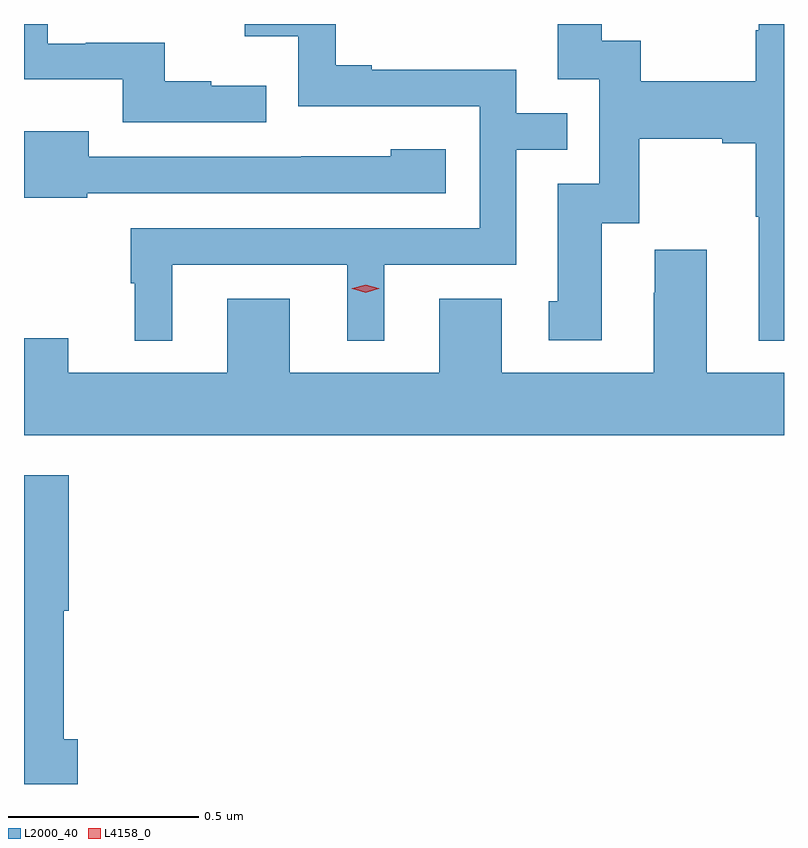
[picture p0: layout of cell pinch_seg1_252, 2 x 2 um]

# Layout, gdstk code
import gdstk
lib = gdstk.Library(unit=1e-6, precision=1e-09)
def P(c, l, *ps):  # polygons
    for p in ps: c.add(gdstk.Polygon(p, *l))
L2000_40 = (2000, 40)
L4158_0 = (4158, 0)

pinch_seg1_252 = lib.new_cell('pinch_seg1_252')
P(pinch_seg1_252, L2000_40, [(890.363,571.3),(890.219,571.3),(890.219,571.312),(890.096,571.312),(890.096,571.413),(889.888,571.413),(889.888,571.41),(889.788,571.41),(889.788,571.462),(889.726,571.462),(889.726,571.317),(889.727,571.316),(889.986,571.316),(889.986,571.203),(890.363,571.203)],
  [(890.116,570.828),(890.576,570.828),(890.576,570.629),(890.674,570.629),(890.674,570.828),(891.021,570.828),(891.021,571.131),(891.155,571.131),(891.155,571.227),(891.021,571.227),(891.021,571.341),(890.641,571.341),(890.641,571.354),(890.547,571.354),(890.547,571.462),(890.307,571.462),(890.307,571.43),(890.448,571.43),(890.448,571.245),(890.925,571.245),(890.925,570.924),(890.007,570.924),(890.007,570.78),(890.018,570.78),(890.018,570.629),(890.116,570.629)],
  [(891.726,571.462),(891.659,571.462),(891.659,571.446),(891.652,571.446),(891.652,571.312),(891.349,571.312),(891.349,571.418),(891.247,571.418),(891.247,571.462),(891.131,571.462),(891.131,571.317),(891.24,571.317),(891.24,571.041),(891.131,571.041),(891.131,570.732),(891.107,570.732),(891.107,570.63),(891.247,570.63),(891.247,570.938),(891.345,570.938),(891.345,571.16),(891.563,571.16),(891.563,571.148),(891.652,571.148),(891.652,570.955),(891.659,570.955),(891.659,570.629),(891.726,570.629)],
  [(889.893,571.017),(890.836,571.017),(890.836,571.132),(890.691,571.132),(890.691,571.114),(890.455,571.114),(890.455,571.113),(889.897,571.113),(889.897,571.18),(889.726,571.18),(889.726,571.005),(889.893,571.005)],
  [(891.726,570.544),(891.523,570.544),(891.523,570.868),(891.386,570.868),(891.386,570.755),(891.383,570.755),(891.383,570.544),(890.983,570.544),(890.983,570.739),(890.819,570.739),(890.819,570.544),(890.425,570.544),(890.425,570.739),(890.261,570.739),(890.261,570.544),(889.843,570.544),(889.843,570.635),(889.726,570.635),(889.726,570.38),(891.726,570.38)],
  [(889.868,569.58),(889.831,569.58),(889.831,569.918),(889.844,569.918),(889.844,570.274),(889.726,570.274),(889.726,569.462),(889.868,569.462)])
P(pinch_seg1_252, L4158_0, [(890.625,570.755),(890.59,570.765),(890.589,570.765),(890.59,570.766),(890.625,570.776),(890.66,570.766),(890.661,570.765),(890.66,570.765)])

lib.write_gds('pinch_seg1_252.gds')
